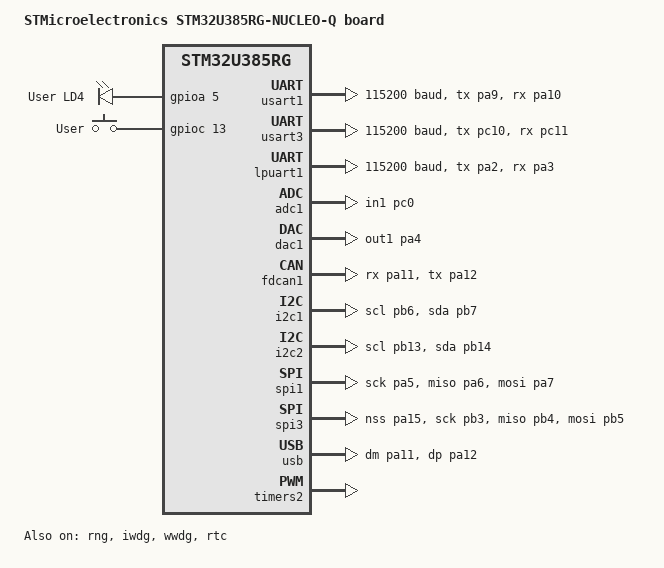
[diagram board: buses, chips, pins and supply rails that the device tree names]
/*
 * Copyright (c) 2025 STMicroelectronics
 *
 * SPDX-License-Identifier: Apache-2.0
 */

/dts-v1/;
#include <st/u3/stm32u385Xg.dtsi>
#include <st/u3/stm32u385rgtxq-pinctrl.dtsi>
#include "arduino_r3_connector.dtsi"
#include <zephyr/dt-bindings/input/input-event-codes.h>

/ {
	model = "STMicroelectronics STM32U385RG-NUCLEO-Q board";
	compatible = "st,stm32u385rg-nucleo-q";

	chosen {
		zephyr,canbus = &fdcan1;
		zephyr,code-partition = &slot0_partition;
		zephyr,console = &usart1;
		zephyr,flash = &flash0;
		zephyr,shell-uart = &usart1;
		zephyr,sram = &sram0;
	};

	leds: leds {
		compatible = "gpio-leds";

		green_led_2: led_2 {
			gpios = <&gpioa 5 GPIO_ACTIVE_HIGH>;
			label = "User LD4";
		};
	};

	gpio_keys {
		compatible = "gpio-keys";

		user_button: button {
			label = "User";
			gpios = <&gpioc 13 GPIO_ACTIVE_HIGH>;
			zephyr,code = <INPUT_KEY_0>;
		};
	};

	pwmleds: pwmleds {
		compatible = "pwm-leds";
		/* NOTE: disabled by default, PWM2 conflicts with SPI1 */
		status = "disabled";

		green_pwm_led: green_pwm_led {
			pwms = <&pwm2 1 PWM_MSEC(20) PWM_POLARITY_NORMAL>;
		};
	};

	aliases {
		led0 = &green_led_2;
		pwm-led0 = &green_pwm_led;
		sw0 = &user_button;
		watchdog0 = &iwdg;
	};
};

&flash0 {
	partitions {
		compatible = "fixed-partitions";
		#address-cells = <1>;
		#size-cells = <1>;

		boot_partition: partition@0 {
			label = "mcuboot";
			reg = <0x00000000 DT_SIZE_K(64)>;
		};

		slot0_partition: partition@c000 {
			label = "image-0";
			reg = <0x0000c000 DT_SIZE_K(472)>;
		};

		slot1_partition: partition@44000 {
			label = "image-1";
			reg = <0x00044000 DT_SIZE_K(476)>;
		};

		storage_partition: partition@fd000 {
			label = "storage";
			reg = <0x0007d000 DT_SIZE_K(12)>;
		};
	};
};

&usart1 {
	pinctrl-0 = <&usart1_tx_pa9 &usart1_rx_pa10>;
	pinctrl-names = "default";
	current-speed = <115200>;
	status = "okay";
};

&usart3 {
	pinctrl-0 = <&usart3_tx_pc10 &usart3_rx_pc11>;
	pinctrl-names = "default";
	current-speed = <115200>;
	status = "okay";
};

&lpuart1 {
	pinctrl-0 = <&lpuart1_tx_pa2 &lpuart1_rx_pa3>;
	pinctrl-names = "default";
	current-speed = <115200>;
	status = "okay";
};

&clk_hsi {
	status = "okay";
};

&clk_hsi48 {
	status = "okay";
};

&clk_lse {
	status = "okay";
};

&clk_msik {
	status = "okay";
};

&clk_msis {
	status = "okay";
	msi-pll-mode;
	msi-range = <0>; /* 96MHz (reset value) */
};

&rcc {
	clocks = <&clk_msis>;
	clock-frequency = <DT_FREQ_M(96)>;
	ahb-prescaler = <1>;
	apb1-prescaler = <1>;
	apb2-prescaler = <1>;
	apb3-prescaler = <1>;
};

&clk_lsi {
	status = "okay";
};

&adc1 {
	pinctrl-0 = <&adc1_in1_pc0>;
	pinctrl-names = "default";
	status = "okay";
};

&dac1 {
	pinctrl-0 = <&dac1_out1_pa4>;
	pinctrl-names = "default";
	status = "okay";
};

&fdcan1 {
	pinctrl-0 = <&fdcan1_rx_pa11 &fdcan1_tx_pa12>;
	pinctrl-names = "default";
	status = "okay";
};

&i2c1 {
	pinctrl-0 = <&i2c1_scl_pb6 &i2c1_sda_pb7>;
	pinctrl-names = "default";
	status = "okay";
};

&i2c2 {
	pinctrl-0 = <&i2c2_scl_pb13 &i2c2_sda_pb14>;
	pinctrl-names = "default";
	status = "okay";
};

&rng {
	clocks = <&rcc STM32_CLOCK(AHB2, 18)>,
		 <&rcc STM32_SRC_MSIK RNG_SEL(1)>;
	status = "okay";
};

&spi1 {
	pinctrl-0 = <&spi1_sck_pa5 &spi1_miso_pa6
		     &spi1_mosi_pa7>;
	pinctrl-names = "default";

	/* Arduino D10 (SPI_NSS) is wired to PC9 which
	 * doesn't support hardware NSS; the software
	 * cs-gpios must be used instead.
	 */
	cs-gpios = <&gpioc 9 GPIO_ACTIVE_LOW>;
	status = "okay";
};

&spi3 {
	pinctrl-0 = <&spi3_nss_pa15 &spi3_sck_pb3
		     &spi3_miso_pb4 &spi3_mosi_pb5>;
	pinctrl-names = "default";
	status = "okay";
};

&iwdg {
	status = "okay";
};

&wwdg {
	status = "okay";
};

&rtc {
	clocks = <&rcc STM32_CLOCK(APB1, 30)>,
		 <&rcc STM32_SRC_LSE RTC_SEL(1)>;
	status = "okay";
};

zephyr_udc0: &usb {
	pinctrl-0 = <&usb_dm_pa11 &usb_dp_pa12>;
	pinctrl-names = "default";
	status = "okay";
};

&timers2 {
	st,prescaler = <10000>;
	status = "okay";

	pwm2: pwm {
		/* NOTE: disabled by default, PWM2 conflicts with SPI1 */
		pinctrl-0 = <&tim2_ch1_pa5>;
		pinctrl-names = "default";
	};
};
